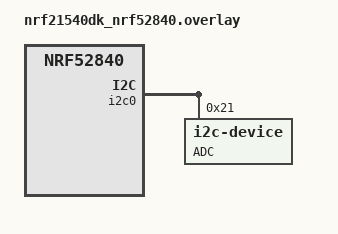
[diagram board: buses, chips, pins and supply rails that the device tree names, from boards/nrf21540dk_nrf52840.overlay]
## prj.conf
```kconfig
# CONFIG_CONSOLE=y
CONFIG_I2C=y
```

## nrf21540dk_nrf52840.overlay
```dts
// To get started, press Ctrl+Space to bring up the completion menu and view the available nodes.

// You can also use the buttons in the sidebar to perform actions on nodes.
// Actions currently available include:

// * Enabling / disabling the node
// * Adding the bus to a bus
// * Removing the node
// * Connecting ADC channels

// For more help, browse the DeviceTree documentation at https://docs.zephyrproject.org/latest/guides/dts/index.html
// You can also visit the nRF DeviceTree extension documentation at https://docs.nordicsemi.com/bundle/nrf-connect-vscode/page/guides/ncs_configure_app.html#devicetree-support-in-the-extension

// Define additional devices connected to the board below:
// &i2c0 {
//     ioexpander : ioexpander@20{
//         compatible = "i2c-device"; //Raw I2C connection
//         reg = < 0x20 >;
//         label = "IOEXPANDER";
//     };
// };
```

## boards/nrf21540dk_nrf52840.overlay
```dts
// To get started, press Ctrl+Space to bring up the completion menu and view the available nodes.

// You can also use the buttons in the sidebar to perform actions on nodes.
// Actions currently available include:

// * Enabling / disabling the node
// * Adding the bus to a bus
// * Removing the node
// * Connecting ADC channels

// For more help, browse the DeviceTree documentation at https://docs.zephyrproject.org/latest/guides/dts/index.html
// You can also visit the nRF DeviceTree extension documentation at https://docs.nordicsemi.com/bundle/nrf-connect-vscode/page/guides/ncs_configure_app.html#devicetree-support-in-the-extension

// Define additional devices connected to the board below:
&i2c0 {
    // ioexpander:nRF52840@20{
    //     compatible = "i2c-device"; //Raw I2C connection
    //     reg = < 0x20 >;
    //     label = "IOEXPANDER";
    // };

    adc:nRF52840@21{
        compatible = "i2c-device"; //Raw I2C connection
        reg = < 0x21 >;
        label = "ADC";
    };
};

&spi0 {										/* m */
	status = "disabled";					/* n */
};
```

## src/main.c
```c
#include <zephyr/kernel.h>
#include <zephyr/sys/printk.h>
#include <zephyr/drivers/i2c.h>
//#include <zephyr/drivers/i2c/target/eeprom.h>

#define I2C0_NODE DT_NODELABEL(adc)
static const struct i2c_dt_spec dev_i2c = I2C_DT_SPEC_GET(I2C0_NODE);

int main(void)
{
        if (!device_is_ready(dev_i2c.bus)) {
                printk("I2C bus %s is not ready!\n\r",dev_i2c.bus->name);
                return 1;
        }
        /*
        ADC notes:
         0: First byte written is always to the address pointer.
                First 4 bits are a command if in mode 2, second 4 bits are the address of the register to write to.
                Because of the I2C protocol structure, we won't be writing to this register explicitly, rather it is bundled
                with the write address... changing the 4 MSBs of the write address allows for writing a command. Otherwise, address
                normally.

                Command mode allows a conversion to be initiated on a write operation and is enabled by passing a command other than
                x0 to the address pointer. We'll want to pass x8 to initiate a conversion on channel 1, which can be accessed in the conversion
                result register. Command x7 tells the controller to enqueue sequential conversions from channels specified in the configuration 
                register.

         1: Initialize configuration register (x0) to value xxxx 00000001 0 00 = 0x0008
              (selects analog channel 1, disable I2C filtering, ALERT/BUSY disabled)
              Setting more than 1 bit high on the channel selection is necessary for multiple enqueued conversions when using command x7 on mode 2.

         2: 

        */
        
        uint8_t data = 0x00;
        uint8_t ret;
        printk("Successfully initialized! \n\r");
        while(1) {
                // ret = i2c_read_dt(&dev_i2c, &data, sizeof(data));
                // if(ret != 0){
                //         printk("Failed to read from I2C device address %x \n\r", dev_i2c.addr);
                //         return 1;
                // }
                ret = i2c_reg_read_byte_dt(&dev_i2c, 0x00, &data);
                if(ret != 0){
                        printk("Failed to read I2C device address %x \n\r", dev_i2c.addr);
                }
                printk("Got %x \n\r", data);
                k_msleep(1000);
        }

        return 0;
}
```
